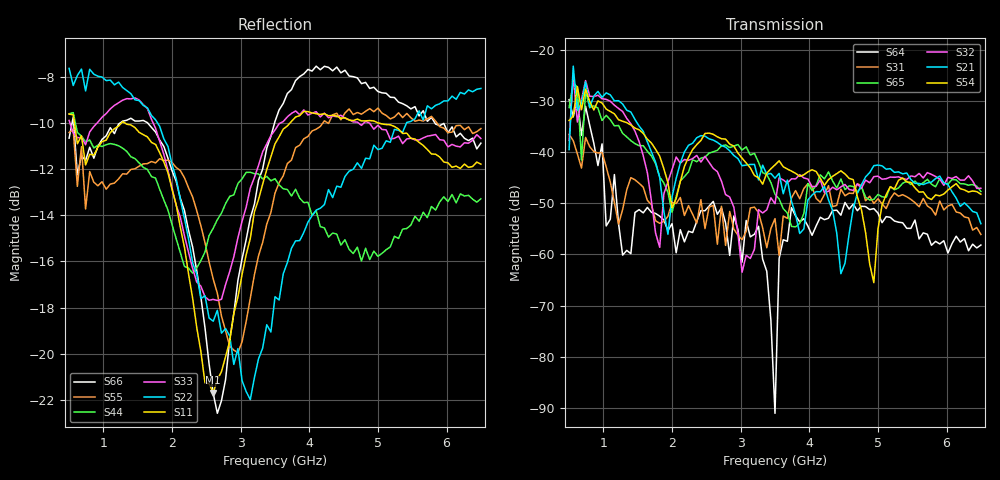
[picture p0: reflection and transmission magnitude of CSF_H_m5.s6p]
!Keysight Technologies,M9804A,MY58100912,A.14.10.03
!Date: Thursday, April 27, 2023 10:28:33
!Correction: S11(C  6-Port  )
!S12(C  6-Port  )
!S13(C  6-Port  )
!S14(C  6-Port  )
!S15(C  6-Port  )
!S16(C  6-Port  )
!S21(C  6-Port  )
!S22(C  6-Port  )
!S23(C  6-Port  )
!S24(C  6-Port  )
!S25(C  6-Port  )
!S26(C  6-Port  )
!S31(C  6-Port  )
!S32(C  6-Port  )
!S33(C  6-Port  )
!S34(C  6-Port  )
!S35(C  6-Port  )
!S36(C  6-Port  )
!S41(C  6-Port  )
!S42(C  6-Port  )
!S43(C  6-Port  )
!S44(C  6-Port  )
!S45(C  6-Port  )
!S46(C  6-Port  )
!S51(C  6-Port  )
!S52(C  6-Port  )
!S53(C  6-Port  )
!S54(C  6-Port  )
!S55(C  6-Port  )
!S56(C  6-Port  )
!S61(C  6-Port  )
!S62(C  6-Port  )
!S63(C  6-Port  )
!S64(C  6-Port  )
!S65(C  6-Port  )
!S66(C  6-Port  )
!S6P File: Measurement: :
# Hz S  RI  R 50
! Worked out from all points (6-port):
!   101 points, 500 MHz to 6.5 GHz, reference 50 ohm
!   strongest paths, dB at 500 MHz, 2 GHz, 3.5 GHz, 5 GHz, 6.5 GHz:
!     S54: -33.8, -50.9, -42.5, -55.1, -48.2
!     S21: -39.5, -48.8, -45.1, -42.5, -54.0
!     S32: -37.7, -43.4, -50.1, -44.7, -47.1
!     S65: -31.3, -51.8, -48.2, -48.3, -47.7
!     S31: -36.5, -49.9, -53.0, -49.1, -56.1
!     S64: -29.7, -54.0, -91.1, -51.9, -58.2
!   lowest |S11| = -21.7 dB at 2.6 GHz (marker M1), VSWR 1.18, Z = 42.7 + j2.04 ohm
!   |S11| at or under -10 dB: 577.5 MHz to 1.259 GHz (681.9 MHz wide, 74.2 % of centre); 1.317 GHz to 3.716 GHz (2.399 GHz wide, 95.3 % of centre); 5.021 GHz to end of sweep
